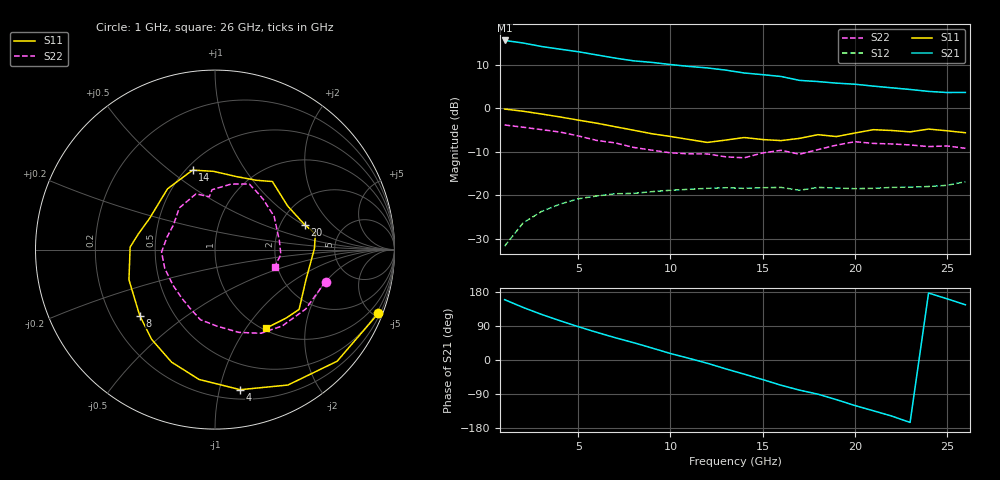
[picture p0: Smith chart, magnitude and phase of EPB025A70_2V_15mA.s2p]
!EPB025A-70	Vds=2v, Ids=15mA
# GHZ S MA R 50
!FREQ	---S11---	---S21---	---S12---	---S22---
!(GHz)	MAG	ANG	MAG	ANG	MAG	ANG	MAG	ANG
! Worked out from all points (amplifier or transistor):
!   26 points, 1 GHz to 26 GHz, reference 50 ohm
!   highest |S21| = 15.5 dB at 1 GHz (marker M1)
!   |S21| within 3 dB of that: start of sweep to 5.559 GHz
!   unconditionally stable (mu >= 1): 9.391 GHz to end of sweep
!   at 5 GHz: K = 0.55, MSG = 16.9 dB, |S12| = -20.8 dB
!   at 14 GHz: K = 1.24, MAG = 10.3 dB, |S12| = -18.4 dB
!   at 26 GHz: K = 1.42, MAG = 6.4 dB, |S12| = -16.9 dB
!   S11 on the Smith chart (normalised r, x): 1 GHz: 0.34, -5.30; 4 GHz: 0.28, -1.16; 8 GHz: 0.32, -0.34; 14 GHz: 0.54, +0.61; 20 GHz: 2.71, +1.03; 26 GHz: 1.03, -1.24
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1  0.977 -21.3  5.991 159.2  0.026 75.1  0.641 -16.1
2  0.922 -42.4  5.602 138.8  0.048 60.3  0.604 -33.3
3  0.857 -61.7  5.11 120.4  0.065 48.3  0.567 -48.6
4  0.793 -79.8  4.758 103.7  0.079 38.2  0.532 -61.2
5  0.729 -97.0  4.445 87.9  0.091 27.6  0.48 -73.9
6  0.672 -111.1  4.087 73.0  0.098 18.2  0.426 -88.7
7  0.612 -125.3  3.757 58.9  0.104 9.1  0.399 -101.8
8  0.558 -138.7  3.494 45.7  0.105 0.3  0.354 -113.4
9  0.508 -160.7  3.354 31.6  0.11 -6.9  0.329 -123.7
10  0.473 178.3  3.169 17.1  0.114 -15.8  0.307 -139.6
12  0.404 154.6  2.898 -8.6  0.12 -31.1  0.298 -177.4
13  0.43 127.9  2.734 -23.4  0.122 -40.9  0.276 165.2
14  0.46 105.7  2.535 -37.4  0.12 -51.0  0.269 149.4
15  0.436 91.0  2.424 -51.6  0.122 -60.3  0.306 130.5
16  0.424 73.5  2.311 -66.6  0.123 -71.4  0.328 108.8
17  0.45 59.1  2.084 -79.5  0.114 -79.0  0.296 96.1
18  0.496 49.9  2.021 -90.2  0.123 -85.3  0.334 92.8
20  0.518 15.6  1.884 -120.1  0.119 -111.5  0.412 62.4
22  0.554 0.6  1.713 -147.9  0.123 -134.0  0.388 46.2
23  0.534 -18.5  1.639 -164.8  0.124 -149.4  0.378 29.4
24  0.575 -35.4  1.557 176.7  0.126 -167.0  0.362 8.2
26  0.522 -57.1  1.516 145.7  0.143 166.3  0.346 -15.8
